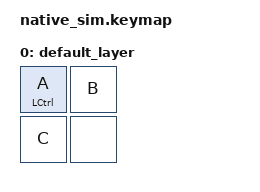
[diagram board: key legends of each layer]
#include <dt-bindings/zmk/keys.h>
#include <behaviors.dtsi>
#include <dt-bindings/zmk/input_mock.h>

&mt {
    flavor = "hold-preferred";
};

/* this test checks if hold-taps can be part of a combo */
/ {
    combos {
        compatible = "zmk,combos";
        combo_two {
            timeout-ms = <100>;
            key-positions = <0 1>;
            bindings = <&kp Y>;
        };
    };

    keymap {
        compatible = "zmk,keymap";

        default_layer {
            bindings = <
                &mt LEFT_CONTROL A &kp B
                &kp C &none
            >;
        };
    };
};

&mock_input {
    events = <
        ZMK_INPUT_MOCK_PRESS(0,0,10)
        ZMK_INPUT_MOCK_PRESS(0,1,10)
        ZMK_INPUT_MOCK_PRESS(0,2,10)
        ZMK_INPUT_MOCK_RELEASE(0,0,10)
        ZMK_INPUT_MOCK_RELEASE(0,1,10)
        ZMK_INPUT_MOCK_RELEASE(0,2,10)
    >;
};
